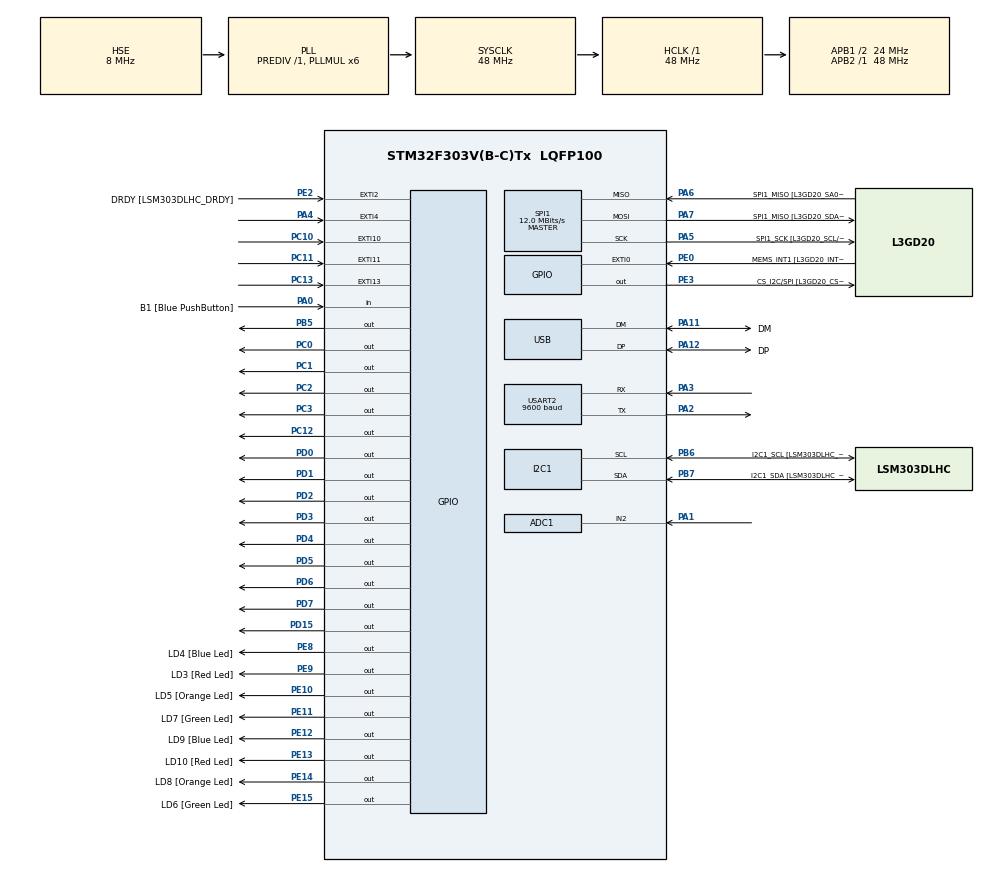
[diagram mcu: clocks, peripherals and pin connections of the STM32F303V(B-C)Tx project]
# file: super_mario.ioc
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ADC1.Channel-0\#ChannelRegularConversion=ADC_CHANNEL_2
ADC1.NbrOfConversionFlag=1
ADC1.Offset-0\#ChannelRegularConversion=0
ADC1.OffsetNumber-0\#ChannelRegularConversion=ADC_OFFSET_NONE
ADC1.Rank-0\#ChannelRegularConversion=1
ADC1.SamplingTime-0\#ChannelRegularConversion=ADC_SAMPLETIME_601CYCLES_5
ADC1.master=1
I2C1.Timing=0x2000090E
I2C1.Timing-I2C=0x2000090E
Mcu.Family=STM32F3
Mcu.Name=STM32F303V(B-C)Tx
Mcu.Package=LQFP100
NVIC.ADC1_2_IRQn=true\:7\:0\:true\:false\:true\:true\:true
NVIC.EXTI15_10_IRQn=true\:0\:0\:true\:false\:true\:true\:true
NVIC.EXTI4_IRQn=true\:0\:0\:true\:false\:true\:true\:true
NVIC.PriorityGroup=NVIC_PRIORITYGROUP_3
NVIC.TIM2_IRQn=true\:0\:0\:true\:false\:true\:true\:true
NVIC.TIM3_IRQn=true\:1\:0\:true\:false\:true\:true\:true
NVIC.USART2_IRQn=true\:0\:0\:true\:false\:true\:true\:true
PA0.GPIO_Label=B1 [Blue PushButton]
PA0.Signal=GPIO_Input
PA1.Mode=IN2-Single-Ended
PA1.Signal=ADC1_IN2
PA11.GPIO_Label=DM
PA11.Mode=Device
PA11.Signal=USB_DM
PA12.GPIO_Label=DP
PA12.Mode=Device
PA12.Signal=USB_DP
PA13.GPIO_Label=SWDIO
PA13.Mode=Serial_Wire
PA13.Signal=SYS_JTMS-SWDIO
PA14.GPIO_Label=SWCLK
PA14.Mode=Serial_Wire
PA14.Signal=SYS_JTCK-SWCLK
PA2.Mode=Asynchronous
PA2.Signal=USART2_TX
PA3.Mode=Asynchronous
PA3.Signal=USART2_RX
PA4.GPIO_PuPd=GPIO_PULLDOWN
PA4.Signal=GPXTI4
PA5.GPIO_Label=SPI1_SCK [L3GD20_SCL/SPC]
PA5.Mode=Full_Duplex_Master
PA5.Signal=SPI1_SCK
PA6.GPIO_Label=SPI1_MISO [L3GD20_SA0/SDO]
PA6.Mode=Full_Duplex_Master
PA6.Signal=SPI1_MISO
PA7.GPIO_Label=SPI1_MISO [L3GD20_SDA/SDI/SDO]
PA7.Mode=Full_Duplex_Master
PA7.Signal=SPI1_MOSI
PB3.GPIO_Label=SWO
PB3.Signal=SYS_JTDO-TRACESWO
PB5.Signal=GPIO_Output
PB6.GPIO_Label=I2C1_SCL [LSM303DLHC_SCL]
PB6.Mode=I2C
PB6.Signal=I2C1_SCL
PB7.GPIO_Label=I2C1_SDA [LSM303DLHC_SDA]
PB7.Mode=I2C
PB7.Signal=I2C1_SDA
PC0.Signal=GPIO_Output
PC1.Signal=GPIO_Output
PC10.GPIO_PuPd=GPIO_PULLDOWN
PC10.Signal=GPXTI10
PC11.GPIO_PuPd=GPIO_PULLDOWN
PC11.Signal=GPXTI11
PC12.GPIO_ModeDefaultOutputPP=GPIO_MODE_OUTPUT_PP
PC12.GPIO_Speed=GPIO_SPEED_FREQ_LOW
PC12.Signal=GPIO_Output
PC13.GPIO_PuPd=GPIO_PULLDOWN
PC13.Signal=GPXTI13
PC14-OSC32_IN.GPIO_Label=OSC32_IN
PC14-OSC32_IN.Signal=RCC_OSC32_IN
PC15-OSC32_OUT.GPIO_Label=OSC32_OUT
PC15-OSC32_OUT.Signal=RCC_OSC32_OUT
PC2.Signal=GPIO_Output
PC3.Signal=GPIO_Output
PD0.GPIO_PuPd=GPIO_NOPULL
PD0.Signal=GPIO_Output
PD1.Signal=GPIO_Output
PD15.Signal=GPIO_Output
PD2.Signal=GPIO_Output
PD3.Signal=GPIO_Output
PD4.Signal=GPIO_Output
PD5.GPIO_PuPd=GPIO_NOPULL
PD5.Signal=GPIO_Output
PD6.Signal=GPIO_Output
PD7.Signal=GPIO_Output
PE0.GPIO_Label=MEMS_INT1 [L3GD20_INT1]
PE0.GPIO_ModeDefaultEXTI=GPIO_MODE_EVT_RISING
PE0.Signal=GPXTI0
PE10.GPIO_Label=LD5 [Orange Led]
PE10.Signal=GPIO_Output
PE11.GPIO_Label=LD7 [Green Led]
PE11.Signal=GPIO_Output
PE12.GPIO_Label=LD9 [Blue Led]
PE12.Signal=GPIO_Output
PE13.GPIO_Label=LD10 [Red Led]
PE13.Signal=GPIO_Output
PE14.GPIO_Label=LD8 [Orange Led]
PE14.Signal=GPIO_Output
PE15.GPIO_Label=LD6 [Green Led]
PE15.Signal=GPIO_Output
PE2.GPIO_Label=DRDY [LSM303DLHC_DRDY]
PE2.GPIO_ModeDefaultEXTI=GPIO_MODE_EVT_RISING
PE2.Signal=GPXTI2
PE3.GPIO_Label=CS_I2C/SPI [L3GD20_CS_I2C/SPI]
PE3.Signal=GPIO_Output
PE8.GPIO_Label=LD4 [Blue Led]
PE8.Signal=GPIO_Output
PE9.GPIO_Label=LD3 [Red Led]
PE9.Signal=GPIO_Output
PF0-OSC_IN.GPIO_Label=OSC_IN
PF0-OSC_IN.Mode=HSE-External-Clock-Source
PF0-OSC_IN.Signal=RCC_OSC_IN
PF1-OSC_OUT.GPIO_Label=OSC_OUT
PF1-OSC_OUT.Signal=RCC_OSC_OUT
ProjectManager.HeapSize=0x200
ProjectManager.StackSize=0x400
ProjectManager.TargetToolchain=STM32CubeIDE
RCC.AHBFreq_Value=48000000
RCC.APB1CLKDivider=RCC_HCLK_DIV2
RCC.APB1Freq_Value=24000000
RCC.APB1TimFreq_Value=48000000
RCC.APB2Freq_Value=48000000
RCC.APB2TimFreq_Value=48000000
RCC.CortexFreq_Value=48000000
RCC.HCLKFreq_Value=48000000
RCC.HSE_VALUE=8000000
RCC.HSI_VALUE=8000000
RCC.LSE_VALUE=32768
RCC.PLLMUL=RCC_PLL_MUL6
RCC.SYSCLKFreq_VALUE=48000000
RCC.SYSCLKSourceVirtual=RCC_SYSCLKSOURCE_PLLCLK
RCC.USBFreq_Value=48000000
SPI1.BaudRatePrescaler=SPI_BAUDRATEPRESCALER_4
SPI1.BaudRatePrescaler-Full_Duplex_Master=SPI_BAUDRATEPRESCALER_2
SPI1.CalculateBaudRate=12.0 MBits/s
SPI1.CalculateBaudRate-Full_Duplex_Master=24.0 MBits/s
SPI1.Direction=SPI_DIRECTION_2LINES
SPI1.Mode=SPI_MODE_MASTER
SPI1.Mode-Full_Duplex_Master=SPI_MODE_MASTER
SPI1.VirtualType=VM_MASTER
TIM2.Period=1000
TIM2.Prescaler=99
TIM3.Period=10000
TIM3.Prescaler=1099
USART2.BaudRate=9600
USART2.VirtualMode-Asynchronous=VM_ASYNC
VP_TIM2_VS_ClockSourceINT.Mode=Internal
VP_TIM3_VS_ClockSourceINT.Mode=Internal
board=STM32F3DISCOVERY

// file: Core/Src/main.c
/* USER CODE BEGIN Header */
/**
  ******************************************************************************
  * @file           : main.c
  * @brief          : Main program body
  ******************************************************************************
  * @attention
  *
  * <h2><center>&copy; Copyright (c) 2021 STMicroelectronics.
  * All rights reserved.</center></h2>
  *
  * This software component is licensed by ST under BSD 3-Clause license,
  * the "License"; You may not use this file except in compliance with the
  * License. You may obtain a copy of the License at:
  *                        opensource.org/licenses/BSD-3-Clause
  *
  ******************************************************************************
  */
/* USER CODE END Header */
#include "main.h"

/* USER CODE BEGIN Includes */
#include "LiquidCrystal.h"

/* USER CODE END Includes */

ADC_HandleTypeDef hadc1;

I2C_HandleTypeDef hi2c1;

SPI_HandleTypeDef hspi1;

TIM_HandleTypeDef htim2;
TIM_HandleTypeDef htim3;

UART_HandleTypeDef huart2;

PCD_HandleTypeDef hpcd_USB_FS;

void SystemClock_Config(void);
static void MX_GPIO_Init(void);
static void MX_I2C1_Init(void);
static void MX_SPI1_Init(void);
static void MX_USB_PCD_Init(void);
static void MX_USART2_UART_Init(void);
static void MX_TIM3_Init(void);
static void MX_ADC1_Init(void);
static void MX_TIM2_Init(void);

/* USER CODE BEGIN 0 */
unsigned char data[1];
int welcomePage[4][20];

/* USER CODE END 0 */

int main(void)
{

  /* MCU Configuration--------------------------------------------------------*/

  /* Reset of all peripherals, Initializes the Flash interface and the Systick. */
  HAL_Init();

  /* Configure the system clock */
  SystemClock_Config();

  /* Initialize all configured peripherals */
  MX_GPIO_Init();
  MX_I2C1_Init();
  MX_SPI1_Init();
  MX_USB_PCD_Init();
  MX_USART2_UART_Init();
  MX_TIM3_Init();
  MX_ADC1_Init();
  MX_TIM2_Init();
  /* USER CODE BEGIN 2 */
  HAL_GPIO_WritePin(GPIOD, GPIO_PIN_0|GPIO_PIN_5|GPIO_PIN_7|GPIO_PIN_15,  1);

    LiquidCrystal(GPIOD, GPIO_PIN_8, GPIO_PIN_9, GPIO_PIN_10, GPIO_PIN_11, GPIO_PIN_12, GPIO_PIN_13, GPIO_PIN_14);
    begin(20, 4);
    clear();
    HAL_UART_Receive_IT(&huart2, data, sizeof(data));
    unsigned char mario[] = {0x0F, 0x0E, 0x0E, 0x04, 0x1F, 0x04, 0x0E, 0x1B};
    unsigned char brick[] = {0x1F, 0x15, 0x1F, 0x15, 0x1F, 0x15, 0x1F, 0x15};
    unsigned char brickUp[] = {0x1F, 0x1F, 0x1F, 0x1F, 0x1F, 0x1F, 0x1F, 0x1F};
    unsigned char brickQuestion[] = {0x1F, 0x11, 0x17, 0x11, 0x1D, 0x1F, 0x1D, 0x1F};
    unsigned char flag[] = {0x10, 0x1C, 0x1E, 0x1F, 0x1C, 0x10, 0x10, 0x10};
    unsigned char mane[] = {0x1F, 0x1F, 0x0E, 0x0E, 0x0E, 0x0E, 0x0E, 0x0E};
    unsigned char zero[] = {0x00, 0x00, 0x00, 0x00, 0x00, 0x00, 0x00, 0x00};
    unsigned char tigh[] = {
     0x18,
     0x18,
     0x04,
     0x02,
     0x01,
     0x02,
     0x04,
     0x18
   };
    HAL_GPIO_WritePin(GPIOE, GPIO_PIN_9|GPIO_PIN_10|GPIO_PIN_11, 1);
//    unsigned char leftDown[] = {0x0F, 0x1F, 0x07, 0x03, 0x07, 0x07, 0x0E, 0x1E};
//    unsigned char leftUp[] = {0x03, 0x07, 0x07, 0x0F, 0x0F, 0x0F, 0x03, 0x07};
//    unsigned char downMid[] = {0x1F, 0x1F, 0x1F, 0x1E, 0x1F, 0x07, 0x03, 0x03};
//    unsigned char upMid[] = {0x1C, 0x1F, 0x1E, 0x1F, 0x1F, 0x1F, 0x1F, 0x1E};
//    unsigned char downRight[] = {0x10, 0x18, 0x00, 0x00, 0x00, 0x00, 0x10, 0x18};
//    unsigned char upRight[] = {0x00, 0x10, 0x00, 0x10, 0x18, 0x10, 0x00, 0x00
//    };
    createChar(2, mario);
    createChar(3, brick);
    createChar(4, brickUp);
    createChar(5, brickQuestion);
    createChar(6, flag);
    createChar(7, mane);
    createChar(0, zero);
    createChar(9, tigh);

//    createChar(13, leftDown);
//    createChar(8, leftUp);
//    createChar(9, downMid);
//    createChar(10, upMid);
//    createChar(11, downRight);
//    createChar(12, upRight);

//    welcomePage[3][1] = 13;
//    welcomePage[2][1] = 8;
//    welcomePage[3][2] = 9;
//    welcomePage[2][2] = 10;
//    welcomePage[2][3] = 12;
//    welcomePage[3][3] = 11;
    HAL_TIM_Base_Start_IT(&htim3);
    HAL_TIM_Base_Start_IT(&htim2);

    HAL_ADC_Start_IT(&hadc1);

  /* USER CODE END 2 */

  /* Infinite loop */
    while (1) {

    }
}

void SystemClock_Config(void)
{
  RCC_OscInitTypeDef RCC_OscInitStruct = {0};
  RCC_ClkInitTypeDef RCC_ClkInitStruct = {0};
  RCC_PeriphCLKInitTypeDef PeriphClkInit = {0};

  /** Initializes the RCC Oscillators according to the specified parameters
  * in the RCC_OscInitTypeDef structure.
  */
  RCC_OscInitStruct.OscillatorType = RCC_OSCILLATORTYPE_HSI|RCC_OSCILLATORTYPE_HSE;
  RCC_OscInitStruct.HSEState = RCC_HSE_BYPASS;
  RCC_OscInitStruct.HSEPredivValue = RCC_HSE_PREDIV_DIV1;
  RCC_OscInitStruct.HSIState = RCC_HSI_ON;
  RCC_OscInitStruct.HSICalibrationValue = RCC_HSICALIBRATION_DEFAULT;
  RCC_OscInitStruct.PLL.PLLState = RCC_PLL_ON;
  RCC_OscInitStruct.PLL.PLLSource = RCC_PLLSOURCE_HSE;
  RCC_OscInitStruct.PLL.PLLMUL = RCC_PLL_MUL6;
  if (HAL_RCC_OscConfig(&RCC_OscInitStruct) != HAL_OK)
  {
    Error_Handler();
  }
  /** Initializes the CPU, AHB and APB buses clocks
  */
  RCC_ClkInitStruct.ClockType = RCC_CLOCKTYPE_HCLK|RCC_CLOCKTYPE_SYSCLK
                              |RCC_CLOCKTYPE_PCLK1|RCC_CLOCKTYPE_PCLK2;
  RCC_ClkInitStruct.SYSCLKSource = RCC_SYSCLKSOURCE_PLLCLK;
  RCC_ClkInitStruct.AHBCLKDivider = RCC_SYSCLK_DIV1;
  RCC_ClkInitStruct.APB1CLKDivider = RCC_HCLK_DIV2;
  RCC_ClkInitStruct.APB2CLKDivider = RCC_HCLK_DIV1;

  if (HAL_RCC_ClockConfig(&RCC_ClkInitStruct, FLASH_LATENCY_1) != HAL_OK)
  {
    Error_Handler();
  }
  PeriphClkInit.PeriphClockSelection = RCC_PERIPHCLK_USB|RCC_PERIPHCLK_USART2
                              |RCC_PERIPHCLK_I2C1|RCC_PERIPHCLK_ADC12;
  PeriphClkInit.Usart2ClockSelection = RCC_USART2CLKSOURCE_PCLK1;
  PeriphClkInit.Adc12ClockSelection = RCC_ADC12PLLCLK_DIV1;
  PeriphClkInit.I2c1ClockSelection = RCC_I2C1CLKSOURCE_HSI;
  PeriphClkInit.USBClockSelection = RCC_USBCLKSOURCE_PLL;
  if (HAL_RCCEx_PeriphCLKConfig(&PeriphClkInit) != HAL_OK)
  {
    Error_Handler();
  }
}

static void MX_ADC1_Init(void)
{

  ADC_MultiModeTypeDef multimode = {0};
  ADC_ChannelConfTypeDef sConfig = {0};

  /** Common config
  */
  hadc1.Instance = ADC1;
  hadc1.Init.ClockPrescaler = ADC_CLOCK_ASYNC_DIV1;
  hadc1.Init.Resolution = ADC_RESOLUTION_12B;
  hadc1.Init.ScanConvMode = ADC_SCAN_DISABLE;
  hadc1.Init.ContinuousConvMode = DISABLE;
  hadc1.Init.DiscontinuousConvMode = DISABLE;
  hadc1.Init.ExternalTrigConvEdge = ADC_EXTERNALTRIGCONVEDGE_NONE;
  hadc1.Init.ExternalTrigConv = ADC_SOFTWARE_START;
  hadc1.Init.DataAlign = ADC_DATAALIGN_RIGHT;
  hadc1.Init.NbrOfConversion = 1;
  hadc1.Init.DMAContinuousRequests = DISABLE;
  hadc1.Init.EOCSelection = ADC_EOC_SINGLE_CONV;
  hadc1.Init.LowPowerAutoWait = DISABLE;
  hadc1.Init.Overrun = ADC_OVR_DATA_OVERWRITTEN;
  if (HAL_ADC_Init(&hadc1) != HAL_OK)
  {
    Error_Handler();
  }
  /** Configure the ADC multi-mode
  */
  multimode.Mode = ADC_MODE_INDEPENDENT;
  if (HAL_ADCEx_MultiModeConfigChannel(&hadc1, &multimode) != HAL_OK)
  {
    Error_Handler();
  }
  /** Configure Regular Channel
  */
  sConfig.Channel = ADC_CHANNEL_2;
  sConfig.Rank = ADC_REGULAR_RANK_1;
  sConfig.SingleDiff = ADC_SINGLE_ENDED;
  sConfig.SamplingTime = ADC_SAMPLETIME_601CYCLES_5;
  sConfig.OffsetNumber = ADC_OFFSET_NONE;
  sConfig.Offset = 0;
  if (HAL_ADC_ConfigChannel(&hadc1, &sConfig) != HAL_OK)
  {
    Error_Handler();
  }

}

static void MX_I2C1_Init(void)
{

  hi2c1.Instance = I2C1;
  hi2c1.Init.Timing = 0x2000090E;
  hi2c1.Init.OwnAddress1 = 0;
  hi2c1.Init.AddressingMode = I2C_ADDRESSINGMODE_7BIT;
  hi2c1.Init.DualAddressMode = I2C_DUALADDRESS_DISABLE;
  hi2c1.Init.OwnAddress2 = 0;
  hi2c1.Init.OwnAddress2Masks = I2C_OA2_NOMASK;
  hi2c1.Init.GeneralCallMode = I2C_GENERALCALL_DISABLE;
  hi2c1.Init.NoStretchMode = I2C_NOSTRETCH_DISABLE;
  if (HAL_I2C_Init(&hi2c1) != HAL_OK)
  {
    Error_Handler();
  }
  /** Configure Analogue filter
  */
  if (HAL_I2CEx_ConfigAnalogFilter(&hi2c1, I2C_ANALOGFILTER_ENABLE) != HAL_OK)
  {
    Error_Handler();
  }
  /** Configure Digital filter
  */
  if (HAL_I2CEx_ConfigDigitalFilter(&hi2c1, 0) != HAL_OK)
  {
    Error_Handler();
  }

}

static void MX_SPI1_Init(void)
{

  /* SPI1 parameter configuration*/
  hspi1.Instance = SPI1;
  hspi1.Init.Mode = SPI_MODE_MASTER;
  hspi1.Init.Direction = SPI_DIRECTION_2LINES;
  hspi1.Init.DataSize = SPI_DATASIZE_4BIT;
  hspi1.Init.CLKPolarity = SPI_POLARITY_LOW;
  hspi1.Init.CLKPhase = SPI_PHASE_1EDGE;
  hspi1.Init.NSS = SPI_NSS_SOFT;
  hspi1.Init.BaudRatePrescaler = SPI_BAUDRATEPRESCALER_4;
  hspi1.Init.FirstBit = SPI_FIRSTBIT_MSB;
  hspi1.Init.TIMode = SPI_TIMODE_DISABLE;
  hspi1.Init.CRCCalculation = SPI_CRCCALCULATION_DISABLE;
  hspi1.Init.CRCPolynomial = 7;
  hspi1.Init.CRCLength = SPI_CRC_LENGTH_DATASIZE;
  hspi1.Init.NSSPMode = SPI_NSS_PULSE_ENABLE;
  if (HAL_SPI_Init(&hspi1) != HAL_OK)
  {
    Error_Handler();
  }

}

static void MX_TIM2_Init(void)
{

  TIM_ClockConfigTypeDef sClockSourceConfig = {0};
  TIM_MasterConfigTypeDef sMasterConfig = {0};

  htim2.Instance = TIM2;
  htim2.Init.Prescaler = 99;
  htim2.Init.CounterMode = TIM_COUNTERMODE_UP;
  htim2.Init.Period = 1000;
  htim2.Init.ClockDivision = TIM_CLOCKDIVISION_DIV1;
  htim2.Init.AutoReloadPreload = TIM_AUTORELOAD_PRELOAD_DISABLE;
  if (HAL_TIM_Base_Init(&htim2) != HAL_OK)
  {
    Error_Handler();
  }
  sClockSourceConfig.ClockSource = TIM_CLOCKSOURCE_INTERNAL;
  if (HAL_TIM_ConfigClockSource(&htim2, &sClockSourceConfig) != HAL_OK)
  {
    Error_Handler();
  }
  sMasterConfig.MasterOutputTrigger = TIM_TRGO_RESET;
  sMasterConfig.MasterSlaveMode = TIM_MASTERSLAVEMODE_DISABLE;
  if (HAL_TIMEx_MasterConfigSynchronization(&htim2, &sMasterConfig) != HAL_OK)
  {
    Error_Handler();
  }

}

static void MX_TIM3_Init(void)
{

  TIM_ClockConfigTypeDef sClockSourceConfig = {0};
  TIM_MasterConfigTypeDef sMasterConfig = {0};

  htim3.Instance = TIM3;
  htim3.Init.Prescaler = 1099;
  htim3.Init.CounterMode = TIM_COUNTERMODE_UP;
  htim3.Init.Period = 10000;
  htim3.Init.ClockDivision = TIM_CLOCKDIVISION_DIV1;
  htim3.Init.AutoReloadPreload = TIM_AUTORELOAD_PRELOAD_DISABLE;
  if (HAL_TIM_Base_Init(&htim3) != HAL_OK)
  {
    Error_Handler();
  }
  sClockSourceConfig.ClockSource = TIM_CLOCKSOURCE_INTERNAL;
  if (HAL_TIM_ConfigClockSource(&htim3, &sClockSourceConfig) != HAL_OK)
  {
    Error_Handler();
  }
  sMasterConfig.MasterOutputTrigger = TIM_TRGO_RESET;
  sMasterConfig.MasterSlaveMode = TIM_MASTERSLAVEMODE_DISABLE;
  if (HAL_TIMEx_MasterConfigSynchronization(&htim3, &sMasterConfig) != HAL_OK)
  {
    Error_Handler();
  }

}

static void MX_USART2_UART_Init(void)
{

  huart2.Instance = USART2;
  huart2.Init.BaudRate = 9600;
  huart2.Init.WordLength = UART_WORDLENGTH_8B;
  huart2.Init.StopBits = UART_STOPBITS_1;
  huart2.Init.Parity = UART_PARITY_NONE;
  huart2.Init.Mode = UART_MODE_TX_RX;
  huart2.Init.HwFlowCtl = UART_HWCONTROL_NONE;
  huart2.Init.OverSampling = UART_OVERSAMPLING_16;
  huart2.Init.OneBitSampling = UART_ONE_BIT_SAMPLE_DISABLE;
  huart2.AdvancedInit.AdvFeatureInit = UART_ADVFEATURE_NO_INIT;
  if (HAL_UART_Init(&huart2) != HAL_OK)
  {
    Error_Handler();
  }

}

static void MX_USB_PCD_Init(void)
{

  hpcd_USB_FS.Instance = USB;
  hpcd_USB_FS.Init.dev_endpoints = 8;
  hpcd_USB_FS.Init.speed = PCD_SPEED_FULL;
  hpcd_USB_FS.Init.phy_itface = PCD_PHY_EMBEDDED;
  hpcd_USB_FS.Init.low_power_enable = DISABLE;
  hpcd_USB_FS.Init.battery_charging_enable = DISABLE;
  if (HAL_PCD_Init(&hpcd_USB_FS) != HAL_OK)
  {
    Error_Handler();
  }

}

static void MX_GPIO_Init(void)
{
  GPIO_InitTypeDef GPIO_InitStruct = {0};

  /* GPIO Ports Clock Enable */
  __HAL_RCC_GPIOE_CLK_ENABLE();
  __HAL_RCC_GPIOC_CLK_ENABLE();
  __HAL_RCC_GPIOF_CLK_ENABLE();
  __HAL_RCC_GPIOA_CLK_ENABLE();
  __HAL_RCC_GPIOD_CLK_ENABLE();
  __HAL_RCC_GPIOB_CLK_ENABLE();

  /*Configure GPIO pin Output Level */
  HAL_GPIO_WritePin(GPIOE, CS_I2C_SPI_Pin|LD4_Pin|LD3_Pin|LD5_Pin
                          |LD7_Pin|LD9_Pin|LD10_Pin|LD8_Pin
                          |LD6_Pin, GPIO_PIN_RESET);

  /*Configure GPIO pin Output Level */
  HAL_GPIO_WritePin(GPIOC, GPIO_PIN_0|GPIO_PIN_1|GPIO_PIN_2|GPIO_PIN_3
                          |GPIO_PIN_12, GPIO_PIN_RESET);

  /*Configure GPIO pin Output Level */
  HAL_GPIO_WritePin(GPIOD, GPIO_PIN_15|GPIO_PIN_0|GPIO_PIN_1|GPIO_PIN_2
                          |GPIO_PIN_3|GPIO_PIN_4|GPIO_PIN_5|GPIO_PIN_6
                          |GPIO_PIN_7, GPIO_PIN_RESET);

  /*Configure GPIO pin Output Level */
  HAL_GPIO_WritePin(GPIOB, GPIO_PIN_5, GPIO_PIN_RESET);

  /*Configure GPIO pins : DRDY_Pin MEMS_INT1_Pin */
  GPIO_InitStruct.Pin = DRDY_Pin|MEMS_INT1_Pin;
  GPIO_InitStruct.Mode = GPIO_MODE_EVT_RISING;
  GPIO_InitStruct.Pull = GPIO_NOPULL;
  HAL_GPIO_Init(GPIOE, &GPIO_InitStruct);

  /*Configure GPIO pins : CS_I2C_SPI_Pin LD4_Pin LD3_Pin LD5_Pin
                           LD7_Pin LD9_Pin LD10_Pin LD8_Pin
                           LD6_Pin */
  GPIO_InitStruct.Pin = CS_I2C_SPI_Pin|LD4_Pin|LD3_Pin|LD5_Pin
                          |LD7_Pin|LD9_Pin|LD10_Pin|LD8_Pin
                          |LD6_Pin;
  GPIO_InitStruct.Mode = GPIO_MODE_OUTPUT_PP;
  GPIO_InitStruct.Pull = GPIO_NOPULL;
  GPIO_InitStruct.Speed = GPIO_SPEED_FREQ_LOW;
  HAL_GPIO_Init(GPIOE, &GPIO_InitStruct);

  /*Configure GPIO pins : PC13 PC10 PC11 */
  GPIO_InitStruct.Pin = GPIO_PIN_13|GPIO_PIN_10|GPIO_PIN_11;
  GPIO_InitStruct.Mode = GPIO_MODE_IT_RISING;
  GPIO_InitStruct.Pull = GPIO_PULLDOWN;
  HAL_GPIO_Init(GPIOC, &GPIO_InitStruct);

  /*Configure GPIO pins : PC0 PC1 PC2 PC3
                           PC12 */
  GPIO_InitStruct.Pin = GPIO_PIN_0|GPIO_PIN_1|GPIO_PIN_2|GPIO_PIN_3
                          |GPIO_PIN_12;
  GPIO_InitStruct.Mode = GPIO_MODE_OUTPUT_PP;
  GPIO_InitStruct.Pull = GPIO_NOPULL;
  GPIO_InitStruct.Speed = GPIO_SPEED_FREQ_LOW;
  HAL_GPIO_Init(GPIOC, &GPIO_InitStruct);

  /*Configure GPIO pin : B1_Pin */
  GPIO_InitStruct.Pin = B1_Pin;
  GPIO_InitStruct.Mode = GPIO_MODE_INPUT;
  GPIO_InitStruct.Pull = GPIO_NOPULL;
  HAL_GPIO_Init(B1_GPIO_Port, &GPIO_InitStruct);

  /*Configure GPIO pin : PA4 */
  GPIO_InitStruct.Pin = GPIO_PIN_4;
  GPIO_InitStruct.Mode = GPIO_MODE_IT_RISING;
  GPIO_InitStruct.Pull = GPIO_PULLDOWN;
  HAL_GPIO_Init(GPIOA, &GPIO_InitStruct);

  /*Configure GPIO pins : PD15 PD0 PD1 PD2
                           PD3 PD4 PD5 PD6
                           PD7 */
  GPIO_InitStruct.Pin = GPIO_PIN_15|GPIO_PIN_0|GPIO_PIN_1|GPIO_PIN_2
                          |GPIO_PIN_3|GPIO_PIN_4|GPIO_PIN_5|GPIO_PIN_6
                          |GPIO_PIN_7;
  GPIO_InitStruct.Mode = GPIO_MODE_OUTPUT_PP;
  GPIO_InitStruct.Pull = GPIO_NOPULL;
  GPIO_InitStruct.Speed = GPIO_SPEED_FREQ_LOW;
  HAL_GPIO_Init(GPIOD, &GPIO_InitStruct);

  /*Configure GPIO pin : PB5 */
  GPIO_InitStruct.Pin = GPIO_PIN_5;
  GPIO_InitStruct.Mode = GPIO_MODE_OUTPUT_PP;
  GPIO_InitStruct.Pull = GPIO_NOPULL;
  GPIO_InitStruct.Speed = GPIO_SPEED_FREQ_LOW;
  HAL_GPIO_Init(GPIOB, &GPIO_InitStruct);

  /* EXTI interrupt init*/
  HAL_NVIC_SetPriority(EXTI4_IRQn, 0, 0);
  HAL_NVIC_EnableIRQ(EXTI4_IRQn);

  HAL_NVIC_SetPriority(EXTI15_10_IRQn, 0, 0);
  HAL_NVIC_EnableIRQ(EXTI15_10_IRQn);

}

void Error_Handler(void)
{
    __disable_irq();
    while (1) {
    }
}

/************************ (C) COPYRIGHT STMicroelectronics *****END OF FILE****/
